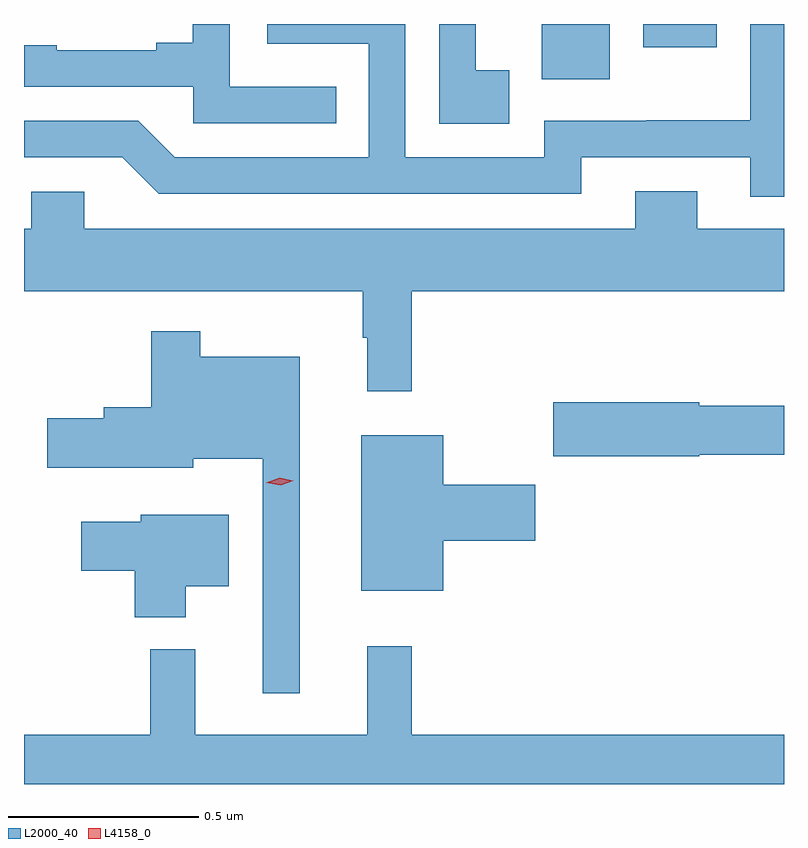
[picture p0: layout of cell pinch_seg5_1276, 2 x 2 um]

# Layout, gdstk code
import gdstk
lib = gdstk.Library(unit=1e-6, precision=1e-09)
def R(c, l, rs):  # rectangles x0, y0, x1, y1
    for r in rs: c.add(gdstk.rectangle(r[:2], r[2:], *l))
def P(c, l, *ps):  # polygons
    for p in ps: c.add(gdstk.Polygon(p, *l))
L2000_40 = (2000, 40)
L4158_0 = (4158, 0)

pinch_seg5_1276 = lib.new_cell('pinch_seg5_1276')
R(pinch_seg5_1276, L2000_40, [(435.701,890.618,435.88,890.763), (435.968,890.702,436.162,890.763)])
P(pinch_seg5_1276, L2000_40, [(436.339,890.763),(436.25,890.763),(436.25,890.51),(435.976,890.51),(435.976,890.508),(435.708,890.508),(435.708,890.412),(435.342,890.412),(435.342,890.763),(434.979,890.763),(434.979,890.711),(435.246,890.711),(435.246,890.412),(434.736,890.412),(434.64,890.508),(434.339,890.508),(434.339,890.412),(434.598,890.412),(434.694,890.316),(435.805,890.316),(435.805,890.412),(436.25,890.412),(436.25,890.309),(436.339,890.309)],
  [(435.616,890.641),(435.528,890.641),(435.528,890.763),(435.432,890.763),(435.432,890.501),(435.616,890.501)],
  [(435.161,890.598),(434.88,890.598),(434.88,890.763),(434.783,890.763),(434.783,890.714),(434.687,890.714),(434.687,890.694),(434.425,890.694),(434.425,890.707),(434.339,890.707),(434.339,890.598),(434.784,890.598),(434.784,890.502),(435.161,890.502)],
  [(435.359,890.06),(436.339,890.06),(436.339,890.224),(436.111,890.224),(436.111,890.323),(435.947,890.323),(435.947,890.224),(434.497,890.224),(434.497,890.322),(434.358,890.322),(434.358,890.224),(434.339,890.224),(434.339,890.06),(435.231,890.06),(435.231,889.937),(435.242,889.937),(435.242,889.797),(435.359,889.797)],
  [(435.064,889.888),(434.803,889.888),(434.803,889.954),(434.674,889.954),(434.674,889.755),(434.549,889.755),(434.549,889.725),(434.4,889.725),(434.4,889.595),(434.784,889.595),(434.784,889.619),(434.967,889.619),(434.967,889.002),(435.064,889.002)],
  [(436.116,889.63),(436.339,889.63),(436.339,889.759),(436.116,889.759),(436.116,889.767),(435.732,889.767),(435.732,889.625),(436.116,889.625)],
  [(435.442,889.403),(435.685,889.403),(435.685,889.55),(435.442,889.55),(435.442,889.681),(435.227,889.681),(435.227,889.271),(435.442,889.271)],
  [(434.764,889.283),(434.878,889.283),(434.878,889.471),(434.646,889.471),(434.646,889.453),(434.49,889.453),(434.49,889.324),(434.63,889.324),(434.63,889.202),(434.764,889.202)],
  [(436.339,888.892),(435.359,888.892),(435.359,889.126),(435.242,889.126),(435.242,888.892),(434.789,888.892),(434.789,889.117),(434.671,889.117),(434.671,888.892),(434.339,888.892),(434.339,888.763),(436.339,888.763)])
P(pinch_seg5_1276, L4158_0, [(435.014,889.549),(434.977,889.556),(434.977,889.556),(434.977,889.556),(435.012,889.569),(435.048,889.561),(435.048,889.561),(435.048,889.561)])

lib.write_gds('pinch_seg5_1276.gds')
